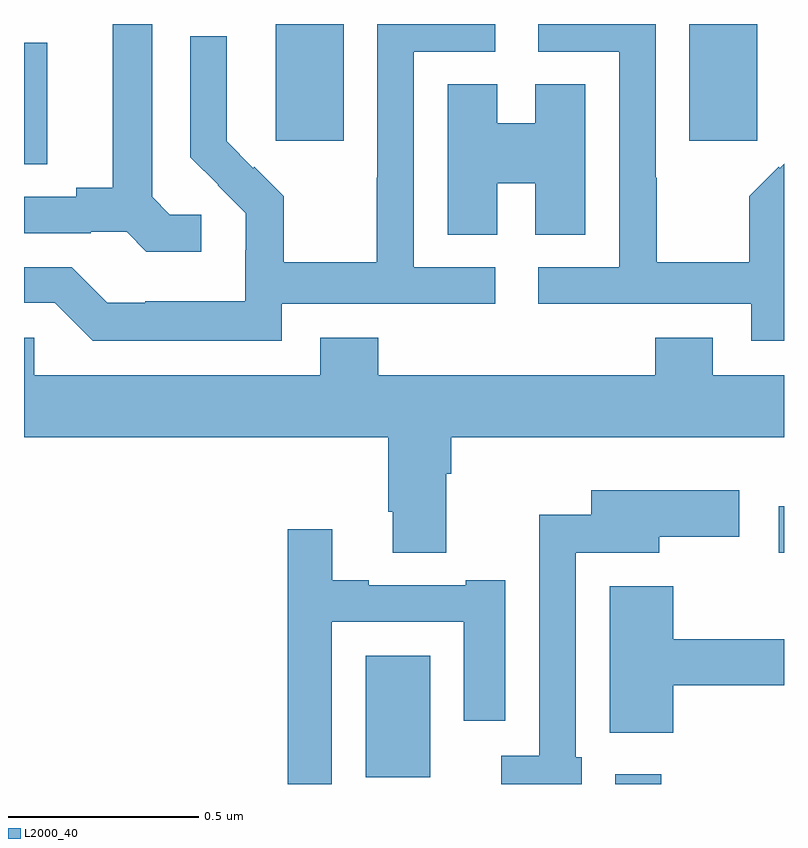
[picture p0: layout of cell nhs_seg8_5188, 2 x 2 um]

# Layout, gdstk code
import gdstk
lib = gdstk.Library(unit=1e-6, precision=1e-09)
def R(c, l, rs):  # rectangles x0, y0, x1, y1
    for r in rs: c.add(gdstk.rectangle(r[:2], r[2:], *l))
def P(c, l, *ps):  # polygons
    for p in ps: c.add(gdstk.Polygon(p, *l))
L2000_40 = (2000, 40)

nhs_seg8_5188 = lib.new_cell('nhs_seg8_5188')
R(nhs_seg8_5188, L2000_40, [(181.556,1136.9,181.677,1136.926), (180.899,1136.918,181.069,1137.238), (181.986,1137.509,182,1137.631), (180,1138.531,180.061,1138.851), (180.662,1138.593,180.841,1138.9), (181.751,1138.593,181.93,1138.9)])
P(nhs_seg8_5188, L2000_40, [(180.466,1138.398),(180.384,1138.398),(180.337,1138.445),(180.337,1138.9),(180.233,1138.9),(180.233,1138.469),(180.137,1138.469),(180.137,1138.446),(180,1138.446),(180,1138.35),(180.176,1138.35),(180.176,1138.353),(180.27,1138.353),(180.322,1138.301),(180.466,1138.301)],
  [(182,1138.532),(181.989,1138.521),(181.986,1138.524),(181.909,1138.447),(181.909,1138.273),(181.665,1138.273),(181.665,1138.496),(181.662,1138.496),(181.662,1138.9),(181.353,1138.9),(181.353,1138.827),(181.566,1138.827),(181.566,1138.26),(181.353,1138.26),(181.353,1138.164),(181.914,1138.164),(181.914,1138.067),(182,1138.067)],
  [(180.678,1138.164),(181.24,1138.164),(181.24,1138.26),(181.026,1138.26),(181.026,1138.827),(181.24,1138.827),(181.24,1138.9),(180.93,1138.9),(180.93,1138.496),(180.928,1138.496),(180.928,1138.273),(180.683,1138.273),(180.683,1138.447),(180.606,1138.524),(180.603,1138.521),(180.533,1138.592),(180.533,1138.714),(180.534,1138.714),(180.534,1138.868),(180.438,1138.868),(180.438,1138.55),(180.511,1138.477),(180.51,1138.476),(180.584,1138.402),(180.584,1138.305),(180.582,1138.305),(180.582,1138.171),(180.319,1138.171),(180.319,1138.167),(180.219,1138.167),(180.126,1138.26),(180,1138.26),(180,1138.167),(180.081,1138.167),(180.181,1138.067),(180.678,1138.067)],
  [(181.246,1138.481),(181.346,1138.481),(181.346,1138.345),(181.477,1138.345),(181.477,1138.742),(181.346,1138.742),(181.346,1138.639),(181.246,1138.639),(181.246,1138.742),(181.115,1138.742),(181.115,1138.345),(181.246,1138.345)],
  [(181.111,1137.716),(181.124,1137.716),(181.124,1137.812),(182,1137.812),(182,1137.976),(181.813,1137.976),(181.813,1138.075),(181.661,1138.075),(181.661,1137.976),(180.932,1137.976),(180.932,1138.075),(180.779,1138.075),(180.779,1137.976),(180.027,1137.976),(180.027,1138.074),(180,1138.074),(180,1137.812),(180.959,1137.812),(180.959,1137.616),(180.971,1137.616),(180.971,1137.508),(181.111,1137.508)],
  [(181.468,1136.97),(181.452,1136.97),(181.452,1137.509),(181.672,1137.509),(181.672,1137.551),(181.882,1137.551),(181.882,1137.673),(181.493,1137.673),(181.493,1137.608),(181.356,1137.608),(181.356,1136.974),(181.256,1136.974),(181.256,1136.9),(181.468,1136.9)],
  [(180.81,1137.327),(181.157,1137.327),(181.157,1137.066),(181.267,1137.066),(181.267,1137.436),(181.163,1137.436),(181.163,1137.423),(180.907,1137.423),(180.907,1137.436),(180.811,1137.436),(180.811,1137.571),(180.694,1137.571),(180.694,1136.9),(180.81,1136.9)],
  [(181.708,1137.16),(182,1137.16),(182,1137.281),(181.708,1137.281),(181.708,1137.421),(181.541,1137.421),(181.541,1137.035),(181.708,1137.035)])

lib.write_gds('nhs_seg8_5188.gds')
